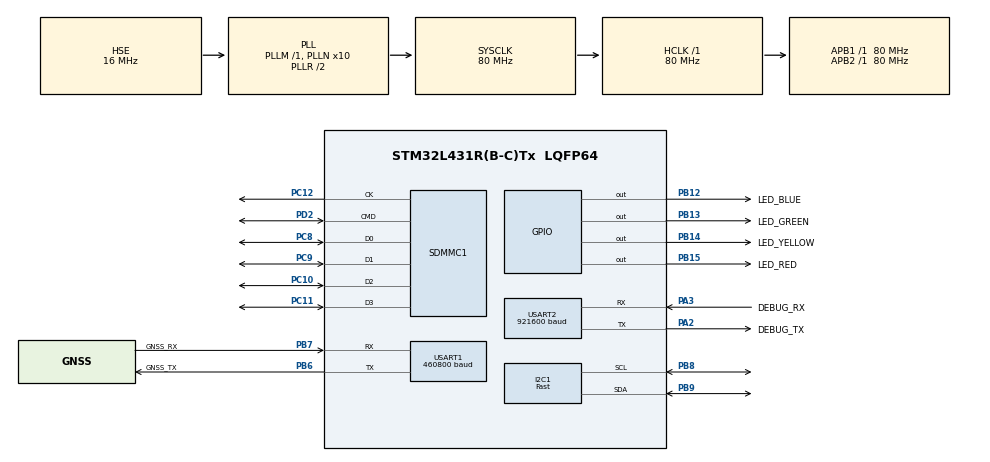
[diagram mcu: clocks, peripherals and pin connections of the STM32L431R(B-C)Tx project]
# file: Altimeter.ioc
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Dma.Request0=USART2_TX
Dma.Request1=USART1_RX
Dma.USART1_RX.1.Direction=DMA_PERIPH_TO_MEMORY
Dma.USART1_RX.1.Instance=DMA1_Channel5
Dma.USART1_RX.1.MemDataAlignment=DMA_MDATAALIGN_BYTE
Dma.USART1_RX.1.MemInc=DMA_MINC_ENABLE
Dma.USART1_RX.1.Mode=DMA_CIRCULAR
Dma.USART1_RX.1.PeriphDataAlignment=DMA_PDATAALIGN_BYTE
Dma.USART1_RX.1.PeriphInc=DMA_PINC_DISABLE
Dma.USART1_RX.1.Priority=DMA_PRIORITY_LOW
Dma.USART2_TX.0.Direction=DMA_MEMORY_TO_PERIPH
Dma.USART2_TX.0.Instance=DMA1_Channel7
Dma.USART2_TX.0.MemDataAlignment=DMA_MDATAALIGN_BYTE
Dma.USART2_TX.0.MemInc=DMA_MINC_ENABLE
Dma.USART2_TX.0.Mode=DMA_NORMAL
Dma.USART2_TX.0.PeriphDataAlignment=DMA_PDATAALIGN_BYTE
Dma.USART2_TX.0.PeriphInc=DMA_PINC_DISABLE
Dma.USART2_TX.0.Priority=DMA_PRIORITY_LOW
FATFS.USE_DMA_CODE_SD=0
FATFS._MAX_SS=4096
FATFS._USE_STRFUNC=1
I2C1.I2C_Speed_Mode=I2C_Fast
I2C1.Timing=0x00702991
Mcu.Family=STM32L4
Mcu.Name=STM32L431R(B-C)Tx
Mcu.Package=LQFP64
NVIC.DMA1_Channel5_IRQn=true\:0\:0\:false\:false\:true\:false
NVIC.DMA1_Channel7_IRQn=true\:0\:0\:false\:false\:true\:false
NVIC.PriorityGroup=NVIC_PRIORITYGROUP_4
NVIC.TIM6_DAC_IRQn=true\:0\:0\:false\:false\:true\:true
NVIC.USART1_IRQn=true\:0\:0\:false\:false\:true\:true
PA2.GPIO_Label=DEBUG_TX
PA2.Mode=Asynchronous
PA2.Signal=USART2_TX
PA3.GPIO_Label=DEBUG_RX
PA3.Mode=Asynchronous
PA3.Signal=USART2_RX
PB12.GPIO_Label=LED_BLUE
PB12.Signal=GPIO_Output
PB13.GPIO_Label=LED_GREEN
PB13.Signal=GPIO_Output
PB14.GPIO_Label=LED_YELLOW
PB14.Signal=GPIO_Output
PB15.GPIO_Label=LED_RED
PB15.Signal=GPIO_Output
PB6.GPIO_Label=GNSS_TX
PB6.Mode=Asynchronous
PB6.Signal=USART1_TX
PB7.GPIO_Label=GNSS_RX
PB7.Mode=Asynchronous
PB7.Signal=USART1_RX
PB8.Mode=I2C
PB8.Signal=I2C1_SCL
PB9.Mode=I2C
PB9.Signal=I2C1_SDA
PC10.Mode=SD_4_bits_Wide_bus
PC10.Signal=SDMMC1_D2
PC11.Mode=SD_4_bits_Wide_bus
PC11.Signal=SDMMC1_D3
PC12.Mode=SD_4_bits_Wide_bus
PC12.Signal=SDMMC1_CK
PC14-OSC32_IN\ (PC14).Mode=LSE-External-Oscillator
PC14-OSC32_IN\ (PC14).Signal=RCC_OSC32_IN
PC15-OSC32_OUT\ (PC15).Mode=LSE-External-Oscillator
PC15-OSC32_OUT\ (PC15).Signal=RCC_OSC32_OUT
PC8.Mode=SD_4_bits_Wide_bus
PC8.Signal=SDMMC1_D0
PC9.Mode=SD_4_bits_Wide_bus
PC9.Signal=SDMMC1_D1
PD2.Mode=SD_4_bits_Wide_bus
PD2.Signal=SDMMC1_CMD
PH0-OSC_IN\ (PH0).Mode=HSE-External-Oscillator
PH0-OSC_IN\ (PH0).Signal=RCC_OSC_IN
PH1-OSC_OUT\ (PH1).Mode=HSE-External-Oscillator
PH1-OSC_OUT\ (PH1).Signal=RCC_OSC_OUT
ProjectManager.HeapSize=0x2000
ProjectManager.StackSize=0x4000
ProjectManager.TargetToolchain=TrueSTUDIO
RCC.ADCFreq_Value=96000000
RCC.AHBFreq_Value=80000000
RCC.APB1Freq_Value=80000000
RCC.APB1TimFreq_Value=80000000
RCC.APB2Freq_Value=80000000
RCC.APB2TimFreq_Value=80000000
RCC.CortexFreq_Value=80000000
RCC.HCLKFreq_Value=80000000
RCC.HSE_VALUE=16000000
RCC.HSI48_VALUE=48000000
RCC.HSI_VALUE=16000000
RCC.MSI_VALUE=4000000
RCC.PLLN=10
RCC.PLLSAI1N=12
RCC.PLLSAI1Q=RCC_PLLQ_DIV4
RCC.PLLSourceVirtual=RCC_PLLSOURCE_HSE
RCC.RCC_MCO1Source=RCC_MCO1SOURCE_HSE
RCC.SYSCLKFreq_VALUE=80000000
RCC.SYSCLKSource=RCC_SYSCLKSOURCE_PLLCLK
RCC.VCOOutputFreq_Value=160000000
SDMMC1.ClockDiv=2
TIM2.Period=4294967295
TIM2.Prescaler=79
TIM6.AutoReloadPreload=TIM_AUTORELOAD_PRELOAD_ENABLE
TIM6.Period=1765
TIM6.Prescaler=19338
USART1.BaudRate=460800
USART1.VirtualMode-Asynchronous=VM_ASYNC
USART1.WordLength=WORDLENGTH_8B
USART2.BaudRate=921600
USART2.VirtualMode-Asynchronous=VM_ASYNC
USART2.WordLength=WORDLENGTH_8B
VP_FATFS_VS_SDIO.Mode=SDIO
VP_TIM2_VS_ClockSourceINT.Mode=Internal
VP_TIM6_VS_ClockSourceINT.Mode=Enable_Timer
board=Altimeter

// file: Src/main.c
/**
  ******************************************************************************
  * @file           : main.c
  * @brief          : Main program body
  ******************************************************************************
  * This notice applies to any and all portions of this file
  * that are not between comment pairs USER CODE BEGIN and
  * USER CODE END. Other portions of this file, whether
  * inserted by the user or by software development tools
  * are owned by their respective copyright owners.
  *
  * Copyright (c) 2018 STMicroelectronics International N.V.
  * All rights reserved.
  *
  * Redistribution and use in source and binary forms, with or without
  * modification, are permitted, provided that the following conditions are met:
  *
  * 1. Redistribution of source code must retain the above copyright notice,
  *    this list of conditions and the following disclaimer.
  * 2. Redistributions in binary form must reproduce the above copyright notice,
  *    this list of conditions and the following disclaimer in the documentation
  *    and/or other materials provided with the distribution.
  * 3. Neither the name of STMicroelectronics nor the names of other
  *    contributors to this software may be used to endorse or promote products
  *    derived from this software without specific written permission.
  * 4. This software, including modifications and/or derivative works of this
  *    software, must execute solely and exclusively on microcontroller or
  *    microprocessor devices manufactured by or for STMicroelectronics.
  * 5. Redistribution and use of this software other than as permitted under
  *    this license is void and will automatically terminate your rights under
  *    this license.
  *
  * THIS SOFTWARE IS PROVIDED BY STMICROELECTRONICS AND CONTRIBUTORS "AS IS"
  * AND ANY EXPRESS, IMPLIED OR STATUTORY WARRANTIES, INCLUDING, BUT NOT
  * LIMITED TO, THE IMPLIED WARRANTIES OF MERCHANTABILITY, FITNESS FOR A
  * PARTICULAR PURPOSE AND NON-INFRINGEMENT OF THIRD PARTY INTELLECTUAL PROPERTY
  * RIGHTS ARE DISCLAIMED TO THE FULLEST EXTENT PERMITTED BY LAW. IN NO EVENT
  * SHALL STMICROELECTRONICS OR CONTRIBUTORS BE LIABLE FOR ANY DIRECT, INDIRECT,
  * INCIDENTAL, SPECIAL, EXEMPLARY, OR CONSEQUENTIAL DAMAGES (INCLUDING, BUT NOT
  * LIMITED TO, PROCUREMENT OF SUBSTITUTE GOODS OR SERVICES; LOSS OF USE, DATA,
  * OR PROFITS; OR BUSINESS INTERRUPTION) HOWEVER CAUSED AND ON ANY THEORY OF
  * LIABILITY, WHETHER IN CONTRACT, STRICT LIABILITY, OR TORT (INCLUDING
  * NEGLIGENCE OR OTHERWISE) ARISING IN ANY WAY OUT OF THE USE OF THIS SOFTWARE,
  * EVEN IF ADVISED OF THE POSSIBILITY OF SUCH DAMAGE.
  *
  ******************************************************************************
  */
#include "main.h"
#include "stm32l4xx_hal.h"
#include "fatfs.h"

/* USER CODE BEGIN Includes */
#include "LPS22HB.h"
#include "uart_rx_dma.h"
#include "../uart_wrapper/uart_wrapper.h"
#include <string.h>
/* USER CODE END Includes */

I2C_HandleTypeDef hi2c1;

SD_HandleTypeDef hsd1;

TIM_HandleTypeDef htim2;
TIM_HandleTypeDef htim6;

UART_HandleTypeDef huart1;
UART_HandleTypeDef huart2;
DMA_HandleTypeDef hdma_usart1_rx;
DMA_HandleTypeDef hdma_usart2_tx;

/* USER CODE BEGIN PV */
/* Private variables ---------------------------------------------------------*/
FATFS fatfs;
FIL file_Baro, file_GNSS;

//char logdir_Sys[20] = "SYSLOG.TXT";
char logdir_Baro[20] = "BAROLOG.CSV";
char logdir_GNSS[20] = "GNSSLOG.CSV";

LPS22HB_t lps22hb;
/* USER CODE END PV */

void SystemClock_Config(void);
static void MX_GPIO_Init(void);
static void MX_DMA_Init(void);
static void MX_I2C1_Init(void);
static void MX_SDMMC1_SD_Init(void);
static void MX_USART1_UART_Init(void);
static void MX_USART2_UART_Init(void);
static void MX_TIM2_Init(void);
static void MX_TIM6_Init(void);

/* USER CODE BEGIN PFP */
/* Private function prototypes -----------------------------------------------*/
void System_Init(void);
void System_Config_FileDirectory(void);
int System_Check_BootCount(void);
void Inst_Log_Barometer(void);
void Inst_Log_GNSS(void);
void LED_Flash_OnePulse(GPIO_TypeDef* port, uint16_t pin, uint16_t span_ms);

/* USER CODE END PFP */

/* USER CODE BEGIN 0 */
typedef struct {
	uint32_t tim;
	uint32_t press;
	int16_t temp;
} EnvData_Container_t;
/* USER CODE END 0 */

int main(void)
{

  /* MCU Configuration----------------------------------------------------------*/

  /* Reset of all peripherals, Initializes the Flash interface and the Systick. */
  HAL_Init();

  /* Configure the system clock */
  SystemClock_Config();

  /* Initialize all configured peripherals */
  MX_GPIO_Init();
  MX_DMA_Init();
  MX_I2C1_Init();
  MX_SDMMC1_SD_Init();
  MX_USART1_UART_Init();
  MX_USART2_UART_Init();
  MX_FATFS_Init();
  MX_TIM2_Init();
  MX_TIM6_Init();
  /* USER CODE BEGIN 2 */

  System_Init();

  /* USER CODE END 2 */

  /* Infinite loop */
  while (1)
  {

  }

}

void SystemClock_Config(void)
{

  RCC_OscInitTypeDef RCC_OscInitStruct;
  RCC_ClkInitTypeDef RCC_ClkInitStruct;
  RCC_PeriphCLKInitTypeDef PeriphClkInit;

    /**Initializes the CPU, AHB and APB busses clocks
    */
  RCC_OscInitStruct.OscillatorType = RCC_OSCILLATORTYPE_HSE;
  RCC_OscInitStruct.HSEState = RCC_HSE_ON;
  RCC_OscInitStruct.PLL.PLLState = RCC_PLL_ON;
  RCC_OscInitStruct.PLL.PLLSource = RCC_PLLSOURCE_HSE;
  RCC_OscInitStruct.PLL.PLLM = 1;
  RCC_OscInitStruct.PLL.PLLN = 10;
  RCC_OscInitStruct.PLL.PLLP = RCC_PLLP_DIV7;
  RCC_OscInitStruct.PLL.PLLQ = RCC_PLLQ_DIV2;
  RCC_OscInitStruct.PLL.PLLR = RCC_PLLR_DIV2;
  if (HAL_RCC_OscConfig(&RCC_OscInitStruct) != HAL_OK)
  {
    _Error_Handler(__FILE__, __LINE__);
  }

    /**Initializes the CPU, AHB and APB busses clocks
    */
  RCC_ClkInitStruct.ClockType = RCC_CLOCKTYPE_HCLK|RCC_CLOCKTYPE_SYSCLK
                              |RCC_CLOCKTYPE_PCLK1|RCC_CLOCKTYPE_PCLK2;
  RCC_ClkInitStruct.SYSCLKSource = RCC_SYSCLKSOURCE_PLLCLK;
  RCC_ClkInitStruct.AHBCLKDivider = RCC_SYSCLK_DIV1;
  RCC_ClkInitStruct.APB1CLKDivider = RCC_HCLK_DIV1;
  RCC_ClkInitStruct.APB2CLKDivider = RCC_HCLK_DIV1;

  if (HAL_RCC_ClockConfig(&RCC_ClkInitStruct, FLASH_LATENCY_4) != HAL_OK)
  {
    _Error_Handler(__FILE__, __LINE__);
  }

  PeriphClkInit.PeriphClockSelection = RCC_PERIPHCLK_USART1|RCC_PERIPHCLK_USART2
                              |RCC_PERIPHCLK_I2C1|RCC_PERIPHCLK_SDMMC1;
  PeriphClkInit.Usart1ClockSelection = RCC_USART1CLKSOURCE_PCLK2;
  PeriphClkInit.Usart2ClockSelection = RCC_USART2CLKSOURCE_PCLK1;
  PeriphClkInit.I2c1ClockSelection = RCC_I2C1CLKSOURCE_PCLK1;
  PeriphClkInit.Sdmmc1ClockSelection = RCC_SDMMC1CLKSOURCE_PLLSAI1;
  PeriphClkInit.PLLSAI1.PLLSAI1Source = RCC_PLLSOURCE_HSE;
  PeriphClkInit.PLLSAI1.PLLSAI1M = 1;
  PeriphClkInit.PLLSAI1.PLLSAI1N = 12;
  PeriphClkInit.PLLSAI1.PLLSAI1P = RCC_PLLP_DIV7;
  PeriphClkInit.PLLSAI1.PLLSAI1Q = RCC_PLLQ_DIV4;
  PeriphClkInit.PLLSAI1.PLLSAI1R = RCC_PLLR_DIV2;
  PeriphClkInit.PLLSAI1.PLLSAI1ClockOut = RCC_PLLSAI1_48M2CLK;
  if (HAL_RCCEx_PeriphCLKConfig(&PeriphClkInit) != HAL_OK)
  {
    _Error_Handler(__FILE__, __LINE__);
  }

    /**Configure the main internal regulator output voltage
    */
  if (HAL_PWREx_ControlVoltageScaling(PWR_REGULATOR_VOLTAGE_SCALE1) != HAL_OK)
  {
    _Error_Handler(__FILE__, __LINE__);
  }

    /**Configure the Systick interrupt time
    */
  HAL_SYSTICK_Config(HAL_RCC_GetHCLKFreq()/1000);

    /**Configure the Systick
    */
  HAL_SYSTICK_CLKSourceConfig(SYSTICK_CLKSOURCE_HCLK);

  /* SysTick_IRQn interrupt configuration */
  HAL_NVIC_SetPriority(SysTick_IRQn, 0, 0);
}

/* I2C1 init function */
static void MX_I2C1_Init(void)
{

  hi2c1.Instance = I2C1;
  hi2c1.Init.Timing = 0x00702991;
  hi2c1.Init.OwnAddress1 = 0;
  hi2c1.Init.AddressingMode = I2C_ADDRESSINGMODE_7BIT;
  hi2c1.Init.DualAddressMode = I2C_DUALADDRESS_DISABLE;
  hi2c1.Init.OwnAddress2 = 0;
  hi2c1.Init.OwnAddress2Masks = I2C_OA2_NOMASK;
  hi2c1.Init.GeneralCallMode = I2C_GENERALCALL_DISABLE;
  hi2c1.Init.NoStretchMode = I2C_NOSTRETCH_DISABLE;
  if (HAL_I2C_Init(&hi2c1) != HAL_OK)
  {
    _Error_Handler(__FILE__, __LINE__);
  }

    /**Configure Analogue filter
    */
  if (HAL_I2CEx_ConfigAnalogFilter(&hi2c1, I2C_ANALOGFILTER_ENABLE) != HAL_OK)
  {
    _Error_Handler(__FILE__, __LINE__);
  }

    /**Configure Digital filter
    */
  if (HAL_I2CEx_ConfigDigitalFilter(&hi2c1, 0) != HAL_OK)
  {
    _Error_Handler(__FILE__, __LINE__);
  }

}

/* SDMMC1 init function */
static void MX_SDMMC1_SD_Init(void)
{

  hsd1.Instance = SDMMC1;
  hsd1.Init.ClockEdge = SDMMC_CLOCK_EDGE_RISING;
  hsd1.Init.ClockBypass = SDMMC_CLOCK_BYPASS_DISABLE;
  hsd1.Init.ClockPowerSave = SDMMC_CLOCK_POWER_SAVE_DISABLE;
  hsd1.Init.BusWide = SDMMC_BUS_WIDE_1B;
  hsd1.Init.HardwareFlowControl = SDMMC_HARDWARE_FLOW_CONTROL_DISABLE;
  hsd1.Init.ClockDiv = 2;

}

/* TIM2 init function */
static void MX_TIM2_Init(void)
{

  TIM_ClockConfigTypeDef sClockSourceConfig;
  TIM_MasterConfigTypeDef sMasterConfig;

  htim2.Instance = TIM2;
  htim2.Init.Prescaler = 79;
  htim2.Init.CounterMode = TIM_COUNTERMODE_UP;
  htim2.Init.Period = 4294967295;
  htim2.Init.ClockDivision = TIM_CLOCKDIVISION_DIV1;
  htim2.Init.AutoReloadPreload = TIM_AUTORELOAD_PRELOAD_DISABLE;
  if (HAL_TIM_Base_Init(&htim2) != HAL_OK)
  {
    _Error_Handler(__FILE__, __LINE__);
  }

  sClockSourceConfig.ClockSource = TIM_CLOCKSOURCE_INTERNAL;
  if (HAL_TIM_ConfigClockSource(&htim2, &sClockSourceConfig) != HAL_OK)
  {
    _Error_Handler(__FILE__, __LINE__);
  }

  sMasterConfig.MasterOutputTrigger = TIM_TRGO_RESET;
  sMasterConfig.MasterSlaveMode = TIM_MASTERSLAVEMODE_DISABLE;
  if (HAL_TIMEx_MasterConfigSynchronization(&htim2, &sMasterConfig) != HAL_OK)
  {
    _Error_Handler(__FILE__, __LINE__);
  }

}

/* TIM6 init function */
static void MX_TIM6_Init(void)
{

  TIM_MasterConfigTypeDef sMasterConfig;

  htim6.Instance = TIM6;
  htim6.Init.Prescaler = 19338;
  htim6.Init.CounterMode = TIM_COUNTERMODE_UP;
  htim6.Init.Period = 1765;
  htim6.Init.AutoReloadPreload = TIM_AUTORELOAD_PRELOAD_ENABLE;
  if (HAL_TIM_Base_Init(&htim6) != HAL_OK)
  {
    _Error_Handler(__FILE__, __LINE__);
  }

  sMasterConfig.MasterOutputTrigger = TIM_TRGO_RESET;
  sMasterConfig.MasterSlaveMode = TIM_MASTERSLAVEMODE_DISABLE;
  if (HAL_TIMEx_MasterConfigSynchronization(&htim6, &sMasterConfig) != HAL_OK)
  {
    _Error_Handler(__FILE__, __LINE__);
  }

}

/* USART1 init function */
static void MX_USART1_UART_Init(void)
{

  huart1.Instance = USART1;
  huart1.Init.BaudRate = 460800;
  huart1.Init.WordLength = UART_WORDLENGTH_8B;
  huart1.Init.StopBits = UART_STOPBITS_1;
  huart1.Init.Parity = UART_PARITY_NONE;
  huart1.Init.Mode = UART_MODE_TX_RX;
  huart1.Init.HwFlowCtl = UART_HWCONTROL_NONE;
  huart1.Init.OverSampling = UART_OVERSAMPLING_16;
  huart1.Init.OneBitSampling = UART_ONE_BIT_SAMPLE_DISABLE;
  huart1.AdvancedInit.AdvFeatureInit = UART_ADVFEATURE_NO_INIT;
  if (HAL_UART_Init(&huart1) != HAL_OK)
  {
    _Error_Handler(__FILE__, __LINE__);
  }

}

/* USART2 init function */
static void MX_USART2_UART_Init(void)
{

  huart2.Instance = USART2;
  huart2.Init.BaudRate = 921600;
  huart2.Init.WordLength = UART_WORDLENGTH_8B;
  huart2.Init.StopBits = UART_STOPBITS_1;
  huart2.Init.Parity = UART_PARITY_NONE;
  huart2.Init.Mode = UART_MODE_TX_RX;
  huart2.Init.HwFlowCtl = UART_HWCONTROL_NONE;
  huart2.Init.OverSampling = UART_OVERSAMPLING_16;
  huart2.Init.OneBitSampling = UART_ONE_BIT_SAMPLE_DISABLE;
  huart2.AdvancedInit.AdvFeatureInit = UART_ADVFEATURE_NO_INIT;
  if (HAL_UART_Init(&huart2) != HAL_OK)
  {
    _Error_Handler(__FILE__, __LINE__);
  }

}

static void MX_DMA_Init(void)
{
  /* DMA controller clock enable */
  __HAL_RCC_DMA1_CLK_ENABLE();

  /* DMA interrupt init */
  /* DMA1_Channel5_IRQn interrupt configuration */
  HAL_NVIC_SetPriority(DMA1_Channel5_IRQn, 0, 0);
  HAL_NVIC_EnableIRQ(DMA1_Channel5_IRQn);
  /* DMA1_Channel7_IRQn interrupt configuration */
  HAL_NVIC_SetPriority(DMA1_Channel7_IRQn, 0, 0);
  HAL_NVIC_EnableIRQ(DMA1_Channel7_IRQn);

}

/** Configure pins as
        * Analog
        * Input
        * Output
        * EVENT_OUT
        * EXTI
*/
static void MX_GPIO_Init(void)
{

  GPIO_InitTypeDef GPIO_InitStruct;

  /* GPIO Ports Clock Enable */
  __HAL_RCC_GPIOC_CLK_ENABLE();
  __HAL_RCC_GPIOH_CLK_ENABLE();
  __HAL_RCC_GPIOA_CLK_ENABLE();
  __HAL_RCC_GPIOB_CLK_ENABLE();
  __HAL_RCC_GPIOD_CLK_ENABLE();

  /*Configure GPIO pin Output Level */
  HAL_GPIO_WritePin(GPIOB, LED_BLUE_Pin|LED_GREEN_Pin|LED_YELLOW_Pin|LED_RED_Pin, GPIO_PIN_RESET);

  /*Configure GPIO pins : LED_BLUE_Pin LED_GREEN_Pin LED_YELLOW_Pin LED_RED_Pin */
  GPIO_InitStruct.Pin = LED_BLUE_Pin|LED_GREEN_Pin|LED_YELLOW_Pin|LED_RED_Pin;
  GPIO_InitStruct.Mode = GPIO_MODE_OUTPUT_PP;
  GPIO_InitStruct.Pull = GPIO_NOPULL;
  GPIO_InitStruct.Speed = GPIO_SPEED_FREQ_LOW;
  HAL_GPIO_Init(GPIOB, &GPIO_InitStruct);

}

/* USER CODE BEGIN 4 */

void System_Init(void) {
	FRESULT fRes;

	//	start timer for time record
	HAL_TIM_Base_Start(&htim2);

	uart_init(&huart2);

	//	initialize LPS22HB
	LPS22HB_Set_Handle(&lps22hb, &hi2c1);
	LPS22HB_Set_Address(&lps22hb, LPS22HB_ADDR_L);
	LPS22HB_Init(&lps22hb, LPS22HB_ODR_75HZ);
	LPS22HB_Set_FIFO(&lps22hb, LPS22HB_FIFO_ENABLE, LPS22HB_FIFOMODE_STREAM);

	//	mount sd card
	fRes = f_mount(&fatfs, SDPath, 1);
	if(fRes == FR_OK) {
		//	ok
		LED_Flash_OnePulse(LED_BLUE_GPIO_Port, LED_BLUE_Pin, 500);
		xprintf("[FatFs] mount succees\r\n");
	} else {
		//	fail �� reset
		LED_Flash_OnePulse(LED_RED_GPIO_Port, LED_RED_Pin, 500);
		xprintf("[FatFs] mount failure\r\n");
		NVIC_SystemReset();
	}

	//	Configure log file directory
	System_Config_FileDirectory();

	//	open file for baro/temp logging
	fRes = f_open(&file_Baro, logdir_Baro, FA_OPEN_APPEND | FA_WRITE);
	if(fRes == FR_OK) {
		//	ok
		LED_Flash_OnePulse(LED_GREEN_GPIO_Port, LED_GREEN_Pin, 500);
		xprintf("[FatFs] baro fopen succees\r\n");
	} else {
		//	fail �� reset
		LED_Flash_OnePulse(LED_RED_GPIO_Port, LED_RED_Pin, 500);
		xprintf("[FatFs] baro fopen failure\r\n");
		NVIC_SystemReset();
	}

	//	open file for baro/temp logging
	fRes = f_open(&file_GNSS, logdir_GNSS, FA_OPEN_APPEND | FA_WRITE);
	if(fRes == FR_OK) {
		//	ok
		LED_Flash_OnePulse(LED_GREEN_GPIO_Port, LED_GREEN_Pin, 500);
		xprintf("[FatFs] gnss fopen succees\r\n");
	} else {
		//	fail �� reset
		LED_Flash_OnePulse(LED_RED_GPIO_Port, LED_RED_Pin, 500);
		xprintf("[FatFs] gnss fopen failure\r\n");
		NVIC_SystemReset();
	}

	/* These uart interrupts halt any ongoing transfer if an error occurs, disable them */
	/* Disable the UART Parity Error Interrupt */
	__HAL_UART_DISABLE_IT(&huart1, UART_IT_PE);
	/* Disable the UART Error Interrupt: (Frame error, noise error, overrun error) */
	__HAL_UART_DISABLE_IT(&huart1, UART_IT_ERR);

	//	uart rx dma config
	msgrx_init(&huart1);

	//	start interrupt timer for reading barometer
	HAL_TIM_Base_Start_IT(&htim6);
	//HAL_TIM_Base_Start_IT(&htim7);

}

void System_Config_FileDirectory(void)
{
	int bootcount;
	char logdir[8];

	bootcount = System_Check_BootCount();
	if ( bootcount < 0 ) {
		xprintf("[LogSys]bootcount check failure!\r\n");

		sprintf(logdir, "LOG");
		xprintf("[LogSys]log directory was set to \"LOG\" \r\n");
	} else {
		xprintf("[LogSys]bootcount is %d\r\n", bootcount);

		sprintf(logdir, "LOG_%03d", bootcount);
		xprintf("[LogSys]log directory was set to \"LOG_%03d\"\r\n", bootcount);
	}

	f_mkdir(logdir);

	//sprintf(logdir_Sys, "LOG_%03d/SYSLOG.TXT", bootcount);
	sprintf(logdir_Baro, "LOG_%03d/BAROLOG.CSV", bootcount);
	sprintf(logdir_GNSS, "LOG_%03d/GNSSLOG.CSV", bootcount);
}

/**
 * 	Check system boot count from config file in sdcard
 */
int System_Check_BootCount(void)
{
    FIL fileRead;
    FIL fileWrite;
    FRESULT res;

    char buff[3] = {};
    int bootcount = 0;

    res = f_open(&fileRead, "CONFIG/BOOTCNT.TXT", FA_READ );
    if ( FR_OK != res ) {

    	//	nothing file
    	res = f_mkdir("CONFIG");

    	if ( FR_OK == res || FR_EXIST == res ) {

        	//	completed make the directory or exist
        	res = f_open(&fileWrite, "CONFIG/BOOTCNT.TXT", FA_CREATE_ALWAYS | FA_WRITE );

        	if ( FR_OK != res ) {

        		//	failed to make file
        		xprintf("filesystem error!\r\n");

            	return -1;
        	} else {

        		//	succeed to make file
        		f_printf(&fileWrite, "%d", bootcount);  //  bootcount = 0
        	}
        }
    } else {

    	//	"BOOTCNT.TXT" file exist
        f_gets((TCHAR *)buff, 4	, &fileRead);
        bootcount = atoi(buff);
        bootcount++;

        f_close(&fileRead);

        res = f_open(&fileWrite, "CONFIG/BOOTCNT.TXT", FA_CREATE_ALWAYS | FA_WRITE );
    }

    f_printf(&fileWrite, "%d", bootcount);
    f_close(&fileWrite);

    return bootcount;
}

void HAL_TIM_PeriodElapsedCallback(TIM_HandleTypeDef* htim) {
	if(htim->Instance == TIM6) {
		Inst_Log_Barometer();
		Inst_Log_GNSS();
		//f_sync(&file_GNSS);
	}
	/*
	if(htim->Instance == TIM7) {
		Inst_Log_GNSS();
	}*/
}

void Inst_Log_Barometer(void) {
	int i;
	char buff[64];
	EnvData_Container_t sensdata[32];
	uint32_t time_stamp;

	for(i = 0; i < 32; i++) {

		time_stamp = TIM2->CNT;
		LPS22HB_Update_Data(&lps22hb);	//	FIFO whole read
		sensdata[i].tim = time_stamp - 1000000 * (31 - i) / 75;			//	time record of data
		sensdata[i].press = LPS22HB_Get_PressureRaw(&lps22hb);
		sensdata[i].temp = LPS22HB_Get_TemperatureRaw(&lps22hb);
		sprintf(buff,"%d,%lu,%lu,%d\r\n",
			  i,					//	data number of one cycle
			  sensdata[i].tim,
			  sensdata[i].press,
			  sensdata[i].temp
		);
		f_puts(buff, &file_Baro);
		xputs(buff);
	}
	PIN_H(LED_BLUE_GPIO_Port, LED_BLUE_Pin);
	f_sync(&file_Baro);
	PIN_L(LED_BLUE_GPIO_Port, LED_BLUE_Pin);
}

void Inst_Log_GNSS(void) {
	char c[1];

	/*
	uint8_t i = 0;
	char sentence[128];
	char output_buf[128];
	*/

	f_printf(&file_GNSS, "%lu\r\n", TIM2->CNT);

	while(!msgrx_circ_buf_is_empty()) {
		c[0] = msgrx_circ_buf_get();
		xputs(c);
		f_putc(c[0], &file_GNSS);

		/*
		sentence[i] = msgrx_circ_buf_get();
		if(sentence[i] == '\n') {
			time_stamp = TIM2->CNT;
			sprintf(output_buf, "%lu,", time_stamp);
			strncat(output_buf, sentence, strlen(sentence));
			xputs(output_buf);
			f_puts(output_buf, &file_GNSS);
			i = 0;
		} else {
			i++;
		}*/
	}
	PIN_H(LED_GREEN_GPIO_Port, LED_GREEN_Pin);
	f_sync(&file_GNSS);
	PIN_L(LED_GREEN_GPIO_Port, LED_GREEN_Pin);
}

void LED_Flash_OnePulse(GPIO_TypeDef* port, uint16_t pin, uint16_t span_ms) {
	HAL_GPIO_WritePin(port, pin, GPIO_PIN_SET);
	HAL_Delay(span_ms);
	HAL_GPIO_WritePin(port, pin, GPIO_PIN_RESET);
}
/* USER CODE END 4 */

void _Error_Handler(char *file, int line)
{
  while(1)
  {
  }
}

/************************ (C) COPYRIGHT STMicroelectronics *****END OF FILE****/
